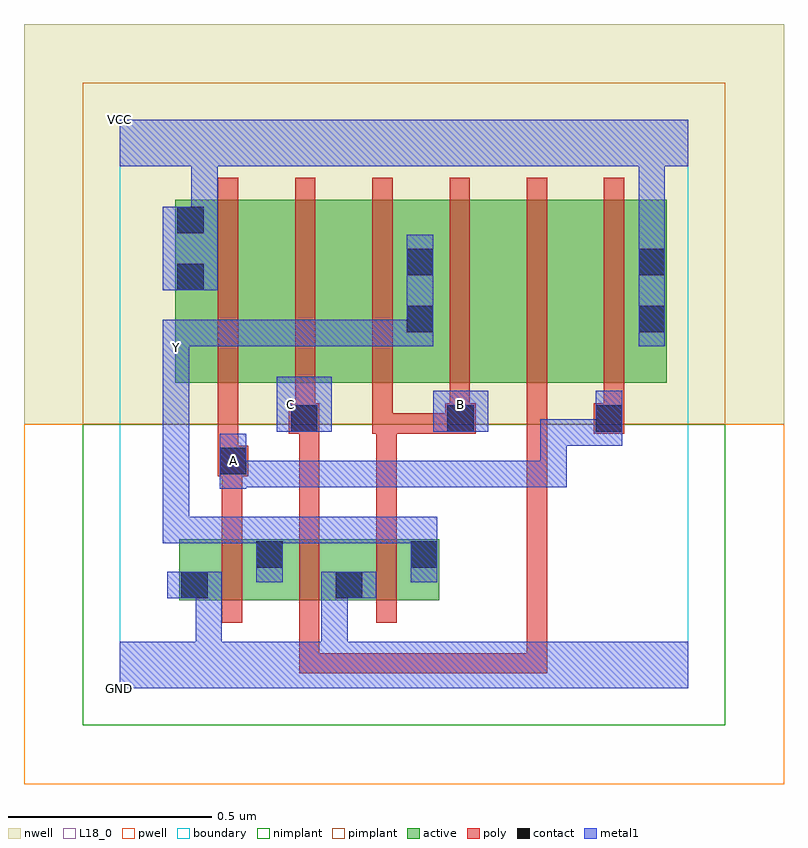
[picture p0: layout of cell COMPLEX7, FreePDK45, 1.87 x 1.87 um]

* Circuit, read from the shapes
.subckt COMPLEX7 A B C GND VCC Y
M1 Y A GND VSUBS nfet w=0.15u l=0.05u
M2 GND C Y VSUBS nfet w=0.15u l=0.05u
M3 Y B GND VSUBS nfet w=0.15u l=0.05u
M4 n1 A VCC n2 pfet w=0.45u l=0.05u
M5 n3 C n1 n2 pfet w=0.45u l=0.05u
M6 Y B n3 n2 pfet w=0.45u l=0.05u
M7 n4 B Y n2 pfet w=0.45u l=0.05u
M8 n5 C n4 n2 pfet w=0.45u l=0.05u
M9 VCC A n5 n2 pfet w=0.45u l=0.05u
.ends

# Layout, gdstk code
import gdstk
lib = gdstk.Library(unit=1e-6, precision=1e-09)
def R(c, l, rs):  # rectangles x0, y0, x1, y1
    for r in rs: c.add(gdstk.rectangle(r[:2], r[2:], *l))
def A(c, l, x, y, w, h, nx, ny, dx, dy):  # array of equal rectangles
    R(c, l, [(x+i*dx, y+j*dy, x+i*dx+w, y+j*dy+h) for i in range(nx) for j in range(ny)])
active = (1, 0)
pwell = (2, 0)
nwell = (3, 0)
nimplant = (4, 0)
pimplant = (5, 0)
poly = (9, 0)
contact = (10, 0)
metal1 = (11, 0)
L18_0 = (18, 0)
boundary = (235, 0)

complex7 = lib.new_cell('COMPLEX7')
R(complex7, active, [(0.147,0.217,0.407,0.367), (0.147,0.217,0.222,0.367), (0.332,0.217,0.602,0.367), (0.332,0.217,0.407,0.367), (0.527,0.217,0.787,0.367), (0.527,0.217,0.602,0.307), (0.712,0.292,0.787,0.367), (0.137,0.752,0.362,1.202), (0.137,0.752,0.212,1.202), (0.362,0.752,0.552,1.202), (0.552,0.752,0.777,1.202), (0.702,0.752,0.932,1.202), (0.932,0.752,1.122,1.202), (1.122,0.752,1.347,1.202), (1.272,0.752,1.347,1.155), (0.702,0.857,0.777,1.155)])
R(complex7, pwell, [(-0.235,-0.235,1.635,0.65)])
R(complex7, nwell, [(-0.235,0.65,1.635,1.635)])
R(complex7, nimplant, [(-0.09,-0.09,1.49,0.65)])
R(complex7, pimplant, [(-0.09,0.65,1.49,1.49)])
A(complex7, poly, 0.252, 0.162, 0.05, 0.26, 3, 1, 0.19, 0)
A(complex7, poly, 0.432, 0.652, 0.05, 0.095, 3, 1, 0.38, 0)
A(complex7, poly, 0.242, 0.697, 0.05, 0.56, 6, 1, 0.19, 0)
R(complex7, poly, [(0.442,0.037,0.492,0.087), (0.442,0.037,0.492,0.087), (0.442,0.037,0.492,0.087), (0.442,0.037,0.625,0.087), (0.442,0.037,0.492,0.212), (0.575,0.037,0.625,0.087), (0.575,0.037,0.815,0.087), (0.765,0.037,0.815,0.087), (0.765,0.037,0.815,0.087), (0.765,0.037,0.815,0.087), (0.765,0.037,0.815,0.087), (0.765,0.037,0.815,0.087), (0.765,0.037,0.815,0.087), (0.765,0.037,0.815,0.087), (0.765,0.037,0.815,0.087), (0.765,0.037,0.815,0.087), (0.765,0.037,1.052,0.087), (1.002,0.037,1.052,0.087), (1.002,0.037,1.052,0.087), (1.002,0.037,1.052,0.087), (1.002,0.037,1.052,0.087), (1.002,0.037,1.052,0.087), (1.002,0.037,1.052,0.747), (0.252,0.372,0.302,0.572), (0.442,0.372,0.492,0.677), (0.632,0.372,0.682,0.677), (0.242,0.522,0.317,0.597), (0.242,0.547,0.292,0.597), (0.242,0.547,0.292,0.597), (0.242,0.547,0.292,0.747), (0.417,0.627,0.492,0.702), (0.442,0.627,0.492,0.677), (0.442,0.627,0.492,0.677), (0.622,0.627,0.672,0.747), (0.622,0.627,0.682,0.677), (0.632,0.627,0.682,0.677), (0.632,0.627,0.682,0.677), (0.632,0.627,0.852,0.677), (0.802,0.627,0.852,0.677), (0.802,0.627,0.852,0.677), (0.802,0.627,0.877,0.702), (1.167,0.627,1.242,0.702), (1.192,0.652,1.242,0.702), (1.192,0.652,1.242,0.702)])
R(complex7, contact, [(0.152,0.222,0.217,0.287), (0.532,0.222,0.597,0.287), (0.337,0.297,0.402,0.362), (0.717,0.297,0.782,0.362), (0.247,0.527,0.312,0.592), (0.422,0.632,0.487,0.697), (0.807,0.632,0.872,0.697), (1.172,0.632,1.237,0.697), (0.707,0.877,0.772,0.942), (1.277,0.877,1.342,0.942), (0.142,0.98,0.207,1.045), (0.707,1.017,0.772,1.082), (1.277,1.017,1.342,1.082), (0.142,1.12,0.207,1.185)])
R(complex7, metal1, [(0,0,1.4,0.115), (0.187,0.05,0.252,0.115), (0.187,0.05,0.252,0.115), (0.187,0.05,0.252,0.115), (0.187,0.05,0.252,0.115), (0.187,0.05,0.252,0.287), (0.497,0.05,0.562,0.115), (0.497,0.05,0.562,0.115), (0.497,0.05,0.562,0.115), (0.497,0.05,0.562,0.115), (0.497,0.05,0.562,0.287), (0.117,0.222,0.252,0.287), (0.497,0.222,0.632,0.287), (0.337,0.262,0.402,0.422), (0.717,0.262,0.782,0.422), (0.107,0.357,0.172,0.422), (0.107,0.357,0.172,0.422), (0.107,0.357,0.172,0.422), (0.107,0.357,0.402,0.422), (0.107,0.357,0.172,0.837), (0.337,0.357,0.45,0.422), (0.385,0.357,0.45,0.422), (0.385,0.357,0.54,0.422), (0.475,0.357,0.54,0.422), (0.475,0.357,0.7,0.422), (0.635,0.357,0.7,0.422), (0.635,0.357,0.782,0.422), (0.247,0.492,0.312,0.627), (0.247,0.495,0.312,0.56), (0.247,0.495,0.312,0.56), (0.247,0.495,0.54,0.56), (0.475,0.495,0.677,0.56), (0.475,0.495,0.54,0.56), (0.475,0.495,0.54,0.56), (0.475,0.495,0.54,0.56), (0.612,0.495,0.677,0.56), (0.612,0.495,0.677,0.56), (0.612,0.495,0.677,0.56), (0.612,0.495,0.837,0.56), (0.772,0.495,0.837,0.56), (0.772,0.495,0.837,0.56), (0.772,0.495,0.837,0.56), (0.772,0.495,1.1,0.56), (1.035,0.495,1.1,0.56), (1.035,0.495,1.1,0.56), (1.035,0.495,1.1,0.662), (1.035,0.597,1.237,0.662), (1.172,0.597,1.237,0.732), (0.387,0.632,0.522,0.767), (0.772,0.632,0.907,0.732), (0.107,0.772,0.172,0.907), (0.107,0.842,0.172,0.907), (0.107,0.842,0.172,0.907), (0.107,0.842,0.172,0.907), (0.107,0.842,0.172,0.907), (0.107,0.842,0.315,0.907), (0.25,0.842,0.315,0.907), (0.25,0.842,0.315,0.907), (0.25,0.842,0.315,0.907), (0.25,0.842,0.54,0.907), (0.475,0.842,0.677,0.907), (0.475,0.842,0.54,0.907), (0.475,0.842,0.54,0.907), (0.475,0.842,0.54,0.907), (0.612,0.842,0.677,0.907), (0.612,0.842,0.772,0.907), (0.707,0.842,0.772,1.117), (1.277,0.842,1.342,1.117), (0.107,0.98,0.242,1.185), (1.277,1.052,1.342,1.35), (0.177,1.12,0.242,1.35), (0,1.285,1.4,1.4)])
R(complex7, L18_0, [(0,0,1.4,0.115), (0.187,0.05,0.252,0.115), (0.187,0.05,0.252,0.115), (0.187,0.05,0.252,0.115), (0.187,0.05,0.252,0.115), (0.187,0.05,0.252,0.287), (0.497,0.05,0.562,0.115), (0.497,0.05,0.562,0.115), (0.497,0.05,0.562,0.115), (0.497,0.05,0.562,0.115), (0.497,0.05,0.562,0.287), (0.117,0.222,0.252,0.287), (0.497,0.222,0.632,0.287), (0.337,0.262,0.402,0.422), (0.717,0.262,0.782,0.422), (0.107,0.357,0.172,0.422), (0.107,0.357,0.172,0.422), (0.107,0.357,0.172,0.422), (0.107,0.357,0.172,0.837), (0.107,0.357,0.402,0.422), (0.337,0.357,0.45,0.422), (0.385,0.357,0.45,0.422), (0.385,0.357,0.54,0.422), (0.475,0.357,0.54,0.422), (0.475,0.357,0.7,0.422), (0.635,0.357,0.7,0.422), (0.635,0.357,0.782,0.422), (0.247,0.492,0.312,0.627), (0.247,0.495,0.312,0.56), (0.247,0.495,0.312,0.56), (0.247,0.495,0.54,0.56), (0.475,0.495,0.54,0.56), (0.475,0.495,0.54,0.56), (0.475,0.495,0.54,0.56), (0.475,0.495,0.677,0.56), (0.612,0.495,0.677,0.56), (0.612,0.495,0.677,0.56), (0.612,0.495,0.677,0.56), (0.612,0.495,0.837,0.56), (0.772,0.495,0.837,0.56), (0.772,0.495,0.837,0.56), (0.772,0.495,0.837,0.56), (0.772,0.495,1.1,0.56), (1.035,0.495,1.1,0.56), (1.035,0.495,1.1,0.56), (1.035,0.495,1.1,0.662), (0.247,0.527,0.312,0.592), (1.035,0.597,1.237,0.662), (1.172,0.597,1.237,0.732), (0.387,0.632,0.522,0.767), (0.772,0.632,0.907,0.732), (0.387,0.667,0.452,0.732), (0.807,0.667,0.872,0.732), (0.107,0.772,0.172,0.907), (0.107,0.807,0.172,0.872), (0.107,0.842,0.172,0.907), (0.107,0.842,0.172,0.907), (0.107,0.842,0.172,0.907), (0.107,0.842,0.172,0.907), (0.107,0.842,0.315,0.907), (0.25,0.842,0.315,0.907), (0.25,0.842,0.315,0.907), (0.25,0.842,0.315,0.907), (0.25,0.842,0.54,0.907), (0.475,0.842,0.54,0.907), (0.475,0.842,0.54,0.907), (0.475,0.842,0.54,0.907), (0.475,0.842,0.677,0.907), (0.612,0.842,0.677,0.907), (0.612,0.842,0.772,0.907), (0.707,0.842,0.772,1.117), (1.277,0.842,1.342,1.117), (0.107,0.98,0.242,1.185), (1.277,1.052,1.342,1.35), (0.177,1.12,0.242,1.35), (0,1.285,1.4,1.4)])
R(complex7, boundary, [(0,0,1.4,1.4)])
complex7.add(gdstk.Label('A', (0.28,0.56), layer=11, texttype=0))
complex7.add(gdstk.Label('B', (0.84,0.7), layer=11, texttype=0))
complex7.add(gdstk.Label('C', (0.42,0.7), layer=11, texttype=0))
complex7.add(gdstk.Label('Y', (0.14,0.84), layer=11, texttype=0))
complex7.add(gdstk.Label('VCC', (0,1.4), layer=11, texttype=0))
complex7.add(gdstk.Label('GND', (0,0), layer=11, texttype=0))

lib.write_gds('COMPLEX7.gds')
